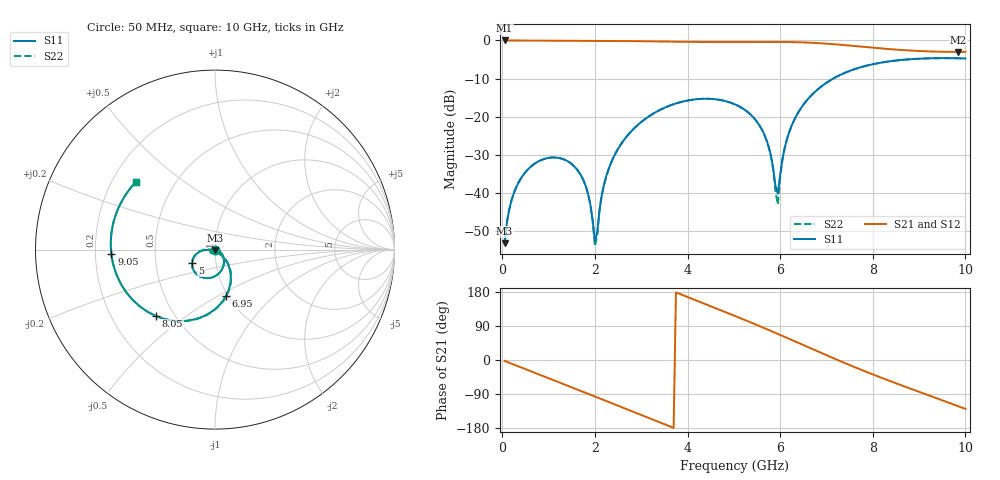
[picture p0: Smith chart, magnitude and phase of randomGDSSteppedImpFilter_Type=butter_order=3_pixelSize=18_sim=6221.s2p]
! freq	dB(S11)	phase(S11)	dB(S12)	phase(S12)
!  dB(S21)	phase(S21)	dB(S22)	phase(S22)
!S-par simulation data
#  GHz  S  DB  R 50
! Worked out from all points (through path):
!   200 points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, 50 MHz to 10 GHz, reference 50 ohm
!   highest |S21| = 0.00 dB at 50 MHz (marker M1); lowest = -3.0 dB at 9.85 GHz (marker M2)
!   group delay of S21, straight-line fit = 138 ps
!   lowest |S11| = -53.3 dB at 50 MHz (marker M3), VSWR 1.00, Z = 50 - j0.215 ohm
!   |S11| at or under -10 dB: start of sweep to 7.147 GHz
!   |S22| runs from -54.0 to -4.6 dB; largest |S21 - S12| = 0
!   S11 on the Smith chart (normalised r, x): 50 MHz: 1.00, -0.00; 5 GHz: 0.77, -0.12; 6.95 GHz: 0.98, -0.54; 8.05 GHz: 0.40, -0.39; 9.05 GHz: 0.27, -0.02; 10 GHz: 0.30, +0.34
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0.05  -53.30 -82.8  -0.00 -2.5  -0.00 -2.5  -53.30 -82.7
0.25  -40.06 -100.5  -0.02 -12.1  -0.02 -12.1  -40.06 -100.5
0.65  -32.79 -122.2  -0.04 -31.3  -0.04 -31.3  -32.79 -122.1
1.25  -30.92 -152.7  -0.07 -60.1  -0.07 -60.1  -30.92 -152.4
1.75  -36.66 178.9  -0.09 -84.2  -0.09 -84.2  -36.67 -180.0
1.9  -42.92 163.3  -0.10 -91.5  -0.10 -91.5  -42.99 166.1
2  -52.73 104.2  -0.11 -96.3  -0.11 -96.3  -54.01 107.6
2.15  -40.48 -1.7  -0.12 -103.6  -0.12 -103.6  -40.58 -4.3
2.4  -30.72 -21.9  -0.13 -115.7  -0.13 -115.7  -30.74 -22.9
3.4  -18.27 -73.3  -0.27 -164.5  -0.27 -164.5  -18.27 -73.8
5  -16.64 -149.9  -0.42 117.4  -0.42 117.4  -16.65 -150.8
5.05  -16.91 -152.2  -0.42 115.0  -0.42 115.0  -16.92 -153.1
5.65  -24.48 -177.1  -0.38 84.6  -0.38 84.6  -24.53 -179.7
5.95  -40.25 -93.4  -0.39 68.9  -0.39 68.9  -43.08 -85.6
6.15  -25.76 -42.3  -0.41 58.3  -0.41 58.3  -25.82 -38.9
6.7  -14.08 -64.0  -0.62 28.7  -0.62 28.7  -14.09 -63.1
6.95  -11.53 -76.7  -0.80 15.3  -0.80 15.3  -11.53 -76.0
8.05  -6.12 -131.6  -1.96 -40.4  -1.96 -40.4  -6.12 -131.2
8.35  -5.50 -145.7  -2.27 -54.5  -2.27 -54.5  -5.50 -145.4
9.05  -4.76 -177.5  -2.80 -86.2  -2.80 -86.2  -4.77 -177.3
9.85  -4.68 146.2  -3.01 -122.1  -3.01 -122.1  -4.68 146.3
10  -4.73 139.2  -3.00 -129.0  -3.00 -129.0  -4.73 139.3
